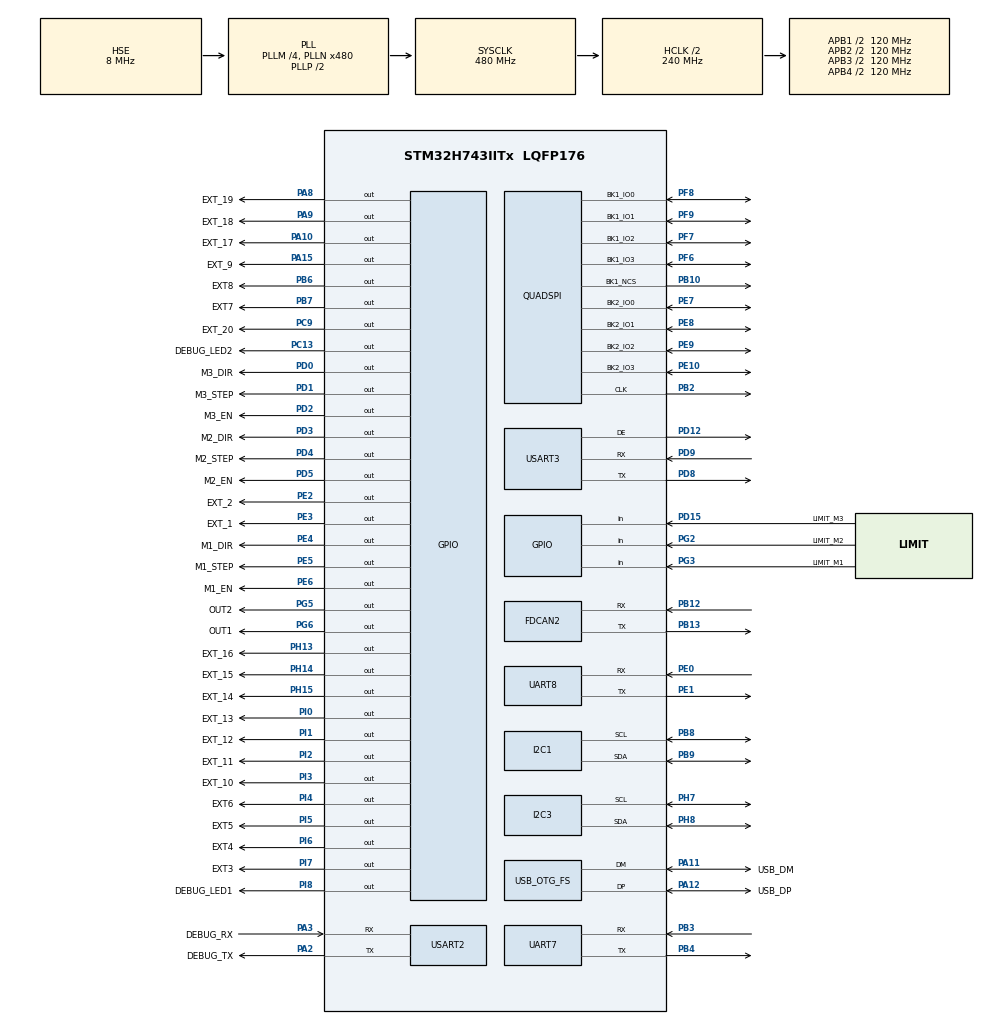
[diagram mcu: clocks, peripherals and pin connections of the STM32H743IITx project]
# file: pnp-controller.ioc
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PA11.GPIO_Speed=GPIO_SPEED_FREQ_VERY_HIGH
PB10.Mode=Enable Chip Select 1 for both banks
PH15.GPIO_Label=EXT_14
PG6.GPIO_Label=OUT1
VP_RTC_VS_RTC_Activate.Mode=RTC_Enabled
PB6.GPIO_Label=EXT8
PI6.GPIO_Label=EXT4
PA15\ (JTDI).Signal=GPIO_Output
PA3.GPIO_Speed=GPIO_SPEED_FREQ_HIGH
PB13.Signal=FDCAN2_TX
PE6.GPIO_Label=M1_EN
RCC.SYSCLKSource=RCC_SYSCLKSOURCE_PLLCLK
USART3.VirtualMode-Asynchronous=VM_ASYNC
FREERTOS.configENABLE_FPU=1
PA14\ (JTCK/SWCLK).Signal=DEBUG_JTCK-SWCLK
PF7.Signal=QUADSPI_BK1_IO2
PD4.Signal=GPIO_Output
PB6.Signal=GPIO_Output
PD0.Signal=GPIO_Output
PD8.Signal=USART3_TX
PE5.Signal=GPIO_Output
PE1.Signal=UART8_TX
PB2.Signal=QUADSPI_CLK
RCC.DIVM3=8
RCC.DIVM2=8
PI4.GPIO_Label=EXT6
RCC.RTCClockSelection=RCC_RTCCLKSOURCE_LSE
RCC.DIVM1=4
PD1.GPIO_Label=M3_STEP
PE9.Signal=QUADSPI_BK2_IO2
PI6.Signal=GPIO_Output
PI3.Signal=GPIO_Output
NVIC.TIM2_IRQn=true\:0\:0\:false\:false\:true\:false\:false\:true
PE4.GPIO_Label=M1_DIR
PE2.Signal=GPIO_Output
PF8.Mode=Dual_Bank
PA8.Signal=GPIO_Output
PA14\ (JTCK/SWCLK).Mode=Serial_Wire
PE10.Signal=QUADSPI_BK2_IO3
RCC.CKPERSourceSelection=RCC_CLKPSOURCE_HSE
Mcu.Package=LQFP176
PB9.Signal=I2C1_SDA
VP_SYS_VS_tim2.Mode=TIM2
NVIC.TimeBase=TIM2_IRQn
PD12.Signal=USART3_DE
NVIC.TimeBaseIP=TIM2
PA10.Signal=GPIO_Output
PE9.Mode=Dual_Bank
PC14-OSC32_IN\ (OSC32_IN).Mode=LSE-External-Oscillator
RCC.APB4Freq_Value=120000000
RCC.FDCANCLockSelection=RCC_FDCANCLKSOURCE_PLL2
PB13.Mode=FDCAN_Activate
PH8.Mode=I2C
PH0-OSC_IN\ (PH0).Mode=HSE-External-Oscillator
PD15.Signal=GPIO_Input
RCC.SupplySource=PWR_LDO_SUPPLY
PH15.Signal=GPIO_Output
RCC.DIVQ3=5
RCC.DIVQ2=3
RCC.DIVQ1=4
FREERTOS.Tasks01=defaultTask,24,128,StartDefaultTask,Default,NULL,Dynamic,NULL,NULL;usbd,54,256,usb_device_task,Default,NULL,Static,usb_device_taskBuffer,usb_device_taskControlBlock
PH13.Signal=GPIO_Output
PG5.Signal=GPIO_Output
PC13.Signal=GPIO_Output
PA9.GPIO_Label=EXT_18
PD3.Signal=GPIO_Output
PE1.Mode=Asynchronous
PE10.Mode=Dual_Bank
PD1.Signal=GPIO_Output
PA11.GPIO_Label=USB_DM
PE8.Mode=Dual_Bank
RCC.Tim2Mul=2
PA3.Mode=Asynchronous
PI8.GPIO_Label=DEBUG_LED1
PA8.GPIO_Label=EXT_19
PA9.Signal=GPIO_Output
RCC.DIVN3=240
RCC.DIVN2=240
I2C1.Timing=0x307075B1
RCC.DIVN1=480
PD8.Mode=Asynchronous
PB10.Signal=QUADSPI_BK1_NCS
RCC.USBCLockSelection=RCC_USBCLKSOURCE_PLL3
PI7.Signal=GPIO_Output
RCC.RNGCLockSelection=RCC_RNGCLKSOURCE_PLL
PE8.Signal=QUADSPI_BK2_IO1
PI1.Signal=GPIO_Output
PI2.Signal=GPIO_Output
PB4\ (NJTRST).Mode=Asynchronous
PH14.GPIO_Label=EXT_15
PD12.Mode=Hardware Flow Control (RS485)
PE5.GPIO_Label=M1_STEP
PA11.Signal=USB_OTG_FS_DM
ProjectManager.HeapSize=0x200
PF6.Mode=Dual_Bank
PF9.Signal=QUADSPI_BK1_IO1
FREERTOS.Timers01=usbled_timer,usbled_timer_cb,osTimerPeriodic,Default,NULL,Static,usbled_timerControlBlock;debugled_timer,debugled_timer_cb,osTimerPeriodic,Default,NULL,Static,debugled_timerControlBlock
NVIC.PriorityGroup=NVIC_PRIORITYGROUP_4
PB3\ (JTDO/TRACESWO).Mode=Asynchronous
PB8.Mode=I2C
PE3.Signal=GPIO_Output
PG3.GPIO_Label=LIMIT_M1
PD2.Signal=GPIO_Output
PD2.GPIO_Label=M3_EN
PA13\ (JTMS/SWDIO).Signal=DEBUG_JTMS-SWDIO
PI1.GPIO_Label=EXT_12
Mcu.Family=STM32H7
RCC.CortexFreq_Value=480000000
PG6.Signal=GPIO_Output
PH14.Signal=GPIO_Output
RCC.HPRE=RCC_HCLK_DIV2
PH0-OSC_IN\ (PH0).Signal=RCC_OSC_IN
PG2.Signal=GPIO_Input
PC15-OSC32_OUT\ (OSC32_OUT).Mode=LSE-External-Oscillator
PA2.GPIO_Speed=GPIO_SPEED_FREQ_HIGH
PD0.GPIO_Label=M3_DIR
PA11.Mode=Device_Only
PI5.GPIO_Label=EXT5
PC13.GPIO_Label=DEBUG_LED2
PG5.GPIO_Label=OUT2
PD9.Mode=Asynchronous
ProjectManager.StackSize=0x400
VP_FREERTOS_VS_CMSIS_V2.Mode=CMSIS_V2
PA12.Signal=USB_OTG_FS_DP
RCC.HCLKFreq_Value=240000000
PH1-OSC_OUT\ (PH1).Mode=HSE-External-Oscillator
RCC.HSE_VALUE=8000000
USART2.VirtualMode-Asynchronous=VM_ASYNC
FREERTOS.configENABLE_BACKWARD_COMPATIBILITY=0
PI8.Signal=GPIO_Output
PF9.Mode=Dual_Bank
PI5.Signal=GPIO_Output
PI0.Signal=GPIO_Output
PA10.GPIO_Label=EXT_17
PB7.Signal=GPIO_Output
USB_OTG_FS.dma_enable=DISABLE
PE4.Signal=GPIO_Output
PH7.Mode=I2C
RCC.APB3Freq_Value=120000000
PB7.GPIO_Label=EXT7
PB12.Mode=FDCAN_Activate
RCC.D1PPRE=RCC_APB3_DIV2
PD5.GPIO_Label=M2_EN
NVIC.OTG_FS_IRQn=true\:5\:0\:false\:false\:true\:true\:true\:false
PA2.GPIO_Label=DEBUG_TX
USB_OTG_FS.VirtualMode=Device_Only
PF8.Signal=QUADSPI_BK1_IO0
PI0.GPIO_Label=EXT_13
PH7.Signal=I2C3_SCL
I2C3.Timing=0x307075B1
PD3.GPIO_Label=M2_DIR
PE7.Signal=QUADSPI_BK2_IO0
PI2.GPIO_Label=EXT_11
PE2.GPIO_Label=EXT_2
PA12.GPIO_Speed=GPIO_SPEED_FREQ_VERY_HIGH
PG2.GPIO_Label=LIMIT_M2
PA3.Signal=USART2_RX
RCC.PLLSourceVirtual=RCC_PLLSOURCE_HSE
CORTEX_M7.CPU_ICache=Enabled
PD15.GPIO_Label=LIMIT_M3
PA13\ (JTMS/SWDIO).Mode=Serial_Wire
PC9.GPIO_Label=EXT_20
PG3.Signal=GPIO_Input
RCC.D2PPRE2=RCC_APB2_DIV2
RCC.D2PPRE1=RCC_APB1_DIV2
PD9.Signal=USART3_RX
PD5.Signal=GPIO_Output
VP_RNG_VS_RNG.Mode=RNG_Activate
PA12.GPIO_Label=USB_DP
PH1-OSC_OUT\ (PH1).Signal=RCC_OSC_OUT
PH13.GPIO_Label=EXT_16
PF7.Mode=Dual_Bank
PF6.Signal=QUADSPI_BK1_IO3
PB3\ (JTDO/TRACESWO).Signal=UART7_RX
ProjectManager.TargetToolchain=STM32CubeIDE
PC15-OSC32_OUT\ (OSC32_OUT).Signal=RCC_OSC32_OUT
PH8.Signal=I2C3_SDA
PB9.Mode=I2C
RCC.USBFreq_Value=48000000
board=custom
RCC.APB2Freq_Value=120000000
PD4.GPIO_Label=M2_STEP
PI4.Signal=GPIO_Output
RCC.ADCFreq_Value=120000000
USART3.VirtualMode-Hardware\ Flow\ Control\ (RS485)=VM_ASYNC
PI7.GPIO_Label=EXT3
PE6.Signal=GPIO_Output
PA15\ (JTDI).GPIO_Label=EXT_9
Mcu.Name=STM32H743IITx
PE0.Signal=UART8_RX
PA2.Signal=USART2_TX
RCC.SYSCLKFreq_VALUE=480000000
PE7.Mode=Dual_Bank
PA12.Mode=Device_Only
PC14-OSC32_IN\ (OSC32_IN).Signal=RCC_OSC32_IN
PB2.Mode=Dual_Bank
RCC.QSPICLockSelection=RCC_QSPICLKSOURCE_PLL2
PI3.GPIO_Label=EXT_10
PA2.Mode=Asynchronous
PB8.Signal=I2C1_SCL
PE3.GPIO_Label=EXT_1
RCC.D3PPRE=RCC_APB4_DIV2
PC9.Signal=GPIO_Output
CORTEX_M7.CPU_DCache=Enabled
RCC.APB1Freq_Value=120000000
VP_CRC_VS_CRC.Mode=CRC_Activate
PB12.Signal=FDCAN2_RX
PE0.Mode=Asynchronous
PA3.GPIO_Label=DEBUG_RX
PB4\ (NJTRST).Signal=UART7_TX

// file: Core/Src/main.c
/* USER CODE BEGIN Header */
/**
 ******************************************************************************
 * @file           : main.c
 * @brief          : Main program body
 ******************************************************************************
 * @attention
 *
 * <h2><center>&copy; Copyright (c) 2020 STMicroelectronics.
 * All rights reserved.</center></h2>
 *
 * This software component is licensed by ST under BSD 3-Clause license,
 * the "License"; You may not use this file except in compliance with the
 * License. You may obtain a copy of the License at:
 *                        opensource.org/licenses/BSD-3-Clause
 *
 ******************************************************************************
 */
/* USER CODE END Header */
#include "main.h"
#include "cmsis_os.h"

/* USER CODE BEGIN Includes */

#include "timers.h"

#include "tusb.h"

#include "usb_descriptors.h"

#include "retarget.h"
/* USER CODE END Includes */

typedef StaticTask_t osStaticThreadDef_t;
typedef StaticTimer_t osStaticTimerDef_t;

/* USER CODE BEGIN PD */

#define USBLED_PORT GPIOI
#define USBLED_PIN GPIO_PIN_8

#define DEBUGLED_PORT GPIOC
#define DEBUGLED_PIN GPIO_PIN_13

/* Blink pattern
 * - 250 ms  : device not mounted
 * - 1000 ms : device mounted
 * - 2500 ms : device is suspended
 */
enum {
	BLINK_NOT_MOUNTED = 250, BLINK_MOUNTED = 1000, BLINK_SUSPENDED = 2500,

	BLINK_ALWAYS_ON = UINT32_MAX, BLINK_ALWAYS_OFF = 0
};

static bool web_serial_connected = false;

#ifdef DEBUG
#define URL  "http://localhost:9999"
#else
	#define URL  "https://pickand.place"
#endif
const tusb_desc_webusb_url_t desc_url = { .bLength = 3 + sizeof(URL) - 1,
		.bDescriptorType = 3, // WEBUSB URL type
		.bScheme = 255, .url = URL };
/* USER CODE END PD */

CRC_HandleTypeDef hcrc;

FDCAN_HandleTypeDef hfdcan2;

I2C_HandleTypeDef hi2c1;
I2C_HandleTypeDef hi2c3;

QSPI_HandleTypeDef hqspi;

RNG_HandleTypeDef hrng;

RTC_HandleTypeDef hrtc;

UART_HandleTypeDef huart7;
UART_HandleTypeDef huart8;
UART_HandleTypeDef huart2;
UART_HandleTypeDef huart3;

PCD_HandleTypeDef hpcd_USB_OTG_FS;

/* Definitions for defaultTask */
osThreadId_t defaultTaskHandle;
const osThreadAttr_t defaultTask_attributes = {
  .name = "defaultTask",
  .stack_size = 128 * 4,
  .priority = (osPriority_t) osPriorityNormal,
};
/* Definitions for usbd */
osThreadId_t usbdHandle;
uint32_t usb_device_taskBuffer[ 256 ];
osStaticThreadDef_t usb_device_taskControlBlock;
const osThreadAttr_t usbd_attributes = {
  .name = "usbd",
  .cb_mem = &usb_device_taskControlBlock,
  .cb_size = sizeof(usb_device_taskControlBlock),
  .stack_mem = &usb_device_taskBuffer[0],
  .stack_size = sizeof(usb_device_taskBuffer),
  .priority = (osPriority_t) osPriorityRealtime6,
};
/* Definitions for usbled_timer */
osTimerId_t usbled_timerHandle;
osStaticTimerDef_t usbled_timerControlBlock;
const osTimerAttr_t usbled_timer_attributes = {
  .name = "usbled_timer",
  .cb_mem = &usbled_timerControlBlock,
  .cb_size = sizeof(usbled_timerControlBlock),
};
/* Definitions for debugled_timer */
osTimerId_t debugled_timerHandle;
osStaticTimerDef_t debugled_timerControlBlock;
const osTimerAttr_t debugled_timer_attributes = {
  .name = "debugled_timer",
  .cb_mem = &debugled_timerControlBlock,
  .cb_size = sizeof(debugled_timerControlBlock),
};

void SystemClock_Config(void);
void PeriphCommonClock_Config(void);
static void MX_GPIO_Init(void);
static void MX_CRC_Init(void);
static void MX_QUADSPI_Init(void);
static void MX_RNG_Init(void);
static void MX_USART2_UART_Init(void);
static void MX_USART3_UART_Init(void);
static void MX_RTC_Init(void);
static void MX_FDCAN2_Init(void);
static void MX_I2C1_Init(void);
static void MX_I2C3_Init(void);
static void MX_UART8_Init(void);
static void MX_UART7_Init(void);
static void MX_USB_OTG_FS_PCD_Init(void);
void StartDefaultTask(void *argument);
void usb_device_task(void *argument);
void usbled_timer_cb(void *argument);
void debugled_timer_cb(void *argument);

int main(void)
{

  /* Enable I-Cache---------------------------------------------------------*/
  SCB_EnableICache();

  /* Enable D-Cache---------------------------------------------------------*/
  SCB_EnableDCache();

  /* MCU Configuration--------------------------------------------------------*/

  /* Reset of all peripherals, Initializes the Flash interface and the Systick. */
  HAL_Init();

  /* Configure the system clock */
  SystemClock_Config();

/* Configure the peripherals common clocks */
  PeriphCommonClock_Config();

  /* Initialize all configured peripherals */
  MX_GPIO_Init();
  MX_CRC_Init();
  MX_QUADSPI_Init();
  MX_RNG_Init();
  MX_USART2_UART_Init();
  MX_USART3_UART_Init();
  MX_RTC_Init();
  MX_FDCAN2_Init();
  MX_I2C1_Init();
  MX_I2C3_Init();
  MX_UART8_Init();
  MX_UART7_Init();
  MX_USB_OTG_FS_PCD_Init();
  /* USER CODE BEGIN 2 */
  RetargetInit(&huart2);
  HAL_GPIO_WritePin(DEBUGLED_PORT, DEBUGLED_PIN, 1);
  /* USER CODE END 2 */

  /* Init scheduler */
  osKernelInitialize();

  /* Create the timer(s) */
  /* creation of usbled_timer */
  usbled_timerHandle = osTimerNew(usbled_timer_cb, osTimerPeriodic, NULL, &usbled_timer_attributes);

  /* creation of debugled_timer */
  debugled_timerHandle = osTimerNew(debugled_timer_cb, osTimerPeriodic, NULL, &debugled_timer_attributes);

  /* Create the thread(s) */
  /* creation of defaultTask */
  defaultTaskHandle = osThreadNew(StartDefaultTask, NULL, &defaultTask_attributes);

  /* creation of usbd */
  usbdHandle = osThreadNew(usb_device_task, NULL, &usbd_attributes);

  /* Start scheduler */
  osKernelStart();

  /* We should never get here as control is now taken by the scheduler */
  /* Infinite loop */
	while (1) {

	}
}

void SystemClock_Config(void)
{
  RCC_OscInitTypeDef RCC_OscInitStruct = {0};
  RCC_ClkInitTypeDef RCC_ClkInitStruct = {0};

  /** Supply configuration update enable
  */
  HAL_PWREx_ConfigSupply(PWR_LDO_SUPPLY);
  /** Configure the main internal regulator output voltage
  */
  __HAL_PWR_VOLTAGESCALING_CONFIG(PWR_REGULATOR_VOLTAGE_SCALE0);

  while(!__HAL_PWR_GET_FLAG(PWR_FLAG_VOSRDY)) {}
  /** Configure LSE Drive Capability
  */
  HAL_PWR_EnableBkUpAccess();
  __HAL_RCC_LSEDRIVE_CONFIG(RCC_LSEDRIVE_LOW);
  /** Macro to configure the PLL clock source
  */
  __HAL_RCC_PLL_PLLSOURCE_CONFIG(RCC_PLLSOURCE_HSE);
  /** Initializes the RCC Oscillators according to the specified parameters
  * in the RCC_OscInitTypeDef structure.
  */
  RCC_OscInitStruct.OscillatorType = RCC_OSCILLATORTYPE_HSE|RCC_OSCILLATORTYPE_LSE;
  RCC_OscInitStruct.HSEState = RCC_HSE_ON;
  RCC_OscInitStruct.LSEState = RCC_LSE_ON;
  RCC_OscInitStruct.PLL.PLLState = RCC_PLL_ON;
  RCC_OscInitStruct.PLL.PLLSource = RCC_PLLSOURCE_HSE;
  RCC_OscInitStruct.PLL.PLLM = 4;
  RCC_OscInitStruct.PLL.PLLN = 480;
  RCC_OscInitStruct.PLL.PLLP = 2;
  RCC_OscInitStruct.PLL.PLLQ = 4;
  RCC_OscInitStruct.PLL.PLLR = 2;
  RCC_OscInitStruct.PLL.PLLRGE = RCC_PLL1VCIRANGE_1;
  RCC_OscInitStruct.PLL.PLLVCOSEL = RCC_PLL1VCOWIDE;
  RCC_OscInitStruct.PLL.PLLFRACN = 0;
  if (HAL_RCC_OscConfig(&RCC_OscInitStruct) != HAL_OK)
  {
    Error_Handler();
  }
  /** Initializes the CPU, AHB and APB buses clocks
  */
  RCC_ClkInitStruct.ClockType = RCC_CLOCKTYPE_HCLK|RCC_CLOCKTYPE_SYSCLK
                              |RCC_CLOCKTYPE_PCLK1|RCC_CLOCKTYPE_PCLK2
                              |RCC_CLOCKTYPE_D3PCLK1|RCC_CLOCKTYPE_D1PCLK1;
  RCC_ClkInitStruct.SYSCLKSource = RCC_SYSCLKSOURCE_PLLCLK;
  RCC_ClkInitStruct.SYSCLKDivider = RCC_SYSCLK_DIV1;
  RCC_ClkInitStruct.AHBCLKDivider = RCC_HCLK_DIV2;
  RCC_ClkInitStruct.APB3CLKDivider = RCC_APB3_DIV2;
  RCC_ClkInitStruct.APB1CLKDivider = RCC_APB1_DIV2;
  RCC_ClkInitStruct.APB2CLKDivider = RCC_APB2_DIV2;
  RCC_ClkInitStruct.APB4CLKDivider = RCC_APB4_DIV2;

  if (HAL_RCC_ClockConfig(&RCC_ClkInitStruct, FLASH_LATENCY_4) != HAL_OK)
  {
    Error_Handler();
  }
}

void PeriphCommonClock_Config(void)
{
  RCC_PeriphCLKInitTypeDef PeriphClkInitStruct = {0};

  /** Initializes the peripherals clock
  */
  PeriphClkInitStruct.PeriphClockSelection = RCC_PERIPHCLK_QSPI|RCC_PERIPHCLK_FDCAN;
  PeriphClkInitStruct.PLL2.PLL2M = 8;
  PeriphClkInitStruct.PLL2.PLL2N = 240;
  PeriphClkInitStruct.PLL2.PLL2P = 2;
  PeriphClkInitStruct.PLL2.PLL2Q = 3;
  PeriphClkInitStruct.PLL2.PLL2R = 2;
  PeriphClkInitStruct.PLL2.PLL2RGE = RCC_PLL2VCIRANGE_0;
  PeriphClkInitStruct.PLL2.PLL2VCOSEL = RCC_PLL2VCOWIDE;
  PeriphClkInitStruct.PLL2.PLL2FRACN = 0;
  PeriphClkInitStruct.QspiClockSelection = RCC_QSPICLKSOURCE_PLL2;
  PeriphClkInitStruct.FdcanClockSelection = RCC_FDCANCLKSOURCE_PLL2;
  if (HAL_RCCEx_PeriphCLKConfig(&PeriphClkInitStruct) != HAL_OK)
  {
    Error_Handler();
  }
}

static void MX_CRC_Init(void)
{

  hcrc.Instance = CRC;
  hcrc.Init.DefaultPolynomialUse = DEFAULT_POLYNOMIAL_ENABLE;
  hcrc.Init.DefaultInitValueUse = DEFAULT_INIT_VALUE_ENABLE;
  hcrc.Init.InputDataInversionMode = CRC_INPUTDATA_INVERSION_NONE;
  hcrc.Init.OutputDataInversionMode = CRC_OUTPUTDATA_INVERSION_DISABLE;
  hcrc.InputDataFormat = CRC_INPUTDATA_FORMAT_BYTES;
  if (HAL_CRC_Init(&hcrc) != HAL_OK)
  {
    Error_Handler();
  }

}

static void MX_FDCAN2_Init(void)
{

  hfdcan2.Instance = FDCAN2;
  hfdcan2.Init.FrameFormat = FDCAN_FRAME_CLASSIC;
  hfdcan2.Init.Mode = FDCAN_MODE_NORMAL;
  hfdcan2.Init.AutoRetransmission = DISABLE;
  hfdcan2.Init.TransmitPause = DISABLE;
  hfdcan2.Init.ProtocolException = DISABLE;
  hfdcan2.Init.NominalPrescaler = 1;
  hfdcan2.Init.NominalSyncJumpWidth = 1;
  hfdcan2.Init.NominalTimeSeg1 = 2;
  hfdcan2.Init.NominalTimeSeg2 = 2;
  hfdcan2.Init.DataPrescaler = 1;
  hfdcan2.Init.DataSyncJumpWidth = 1;
  hfdcan2.Init.DataTimeSeg1 = 1;
  hfdcan2.Init.DataTimeSeg2 = 1;
  hfdcan2.Init.MessageRAMOffset = 0;
  hfdcan2.Init.StdFiltersNbr = 0;
  hfdcan2.Init.ExtFiltersNbr = 0;
  hfdcan2.Init.RxFifo0ElmtsNbr = 0;
  hfdcan2.Init.RxFifo0ElmtSize = FDCAN_DATA_BYTES_8;
  hfdcan2.Init.RxFifo1ElmtsNbr = 0;
  hfdcan2.Init.RxFifo1ElmtSize = FDCAN_DATA_BYTES_8;
  hfdcan2.Init.RxBuffersNbr = 0;
  hfdcan2.Init.RxBufferSize = FDCAN_DATA_BYTES_8;
  hfdcan2.Init.TxEventsNbr = 0;
  hfdcan2.Init.TxBuffersNbr = 0;
  hfdcan2.Init.TxFifoQueueElmtsNbr = 0;
  hfdcan2.Init.TxFifoQueueMode = FDCAN_TX_FIFO_OPERATION;
  hfdcan2.Init.TxElmtSize = FDCAN_DATA_BYTES_8;
  if (HAL_FDCAN_Init(&hfdcan2) != HAL_OK)
  {
    Error_Handler();
  }

}

static void MX_I2C1_Init(void)
{

  hi2c1.Instance = I2C1;
  hi2c1.Init.Timing = 0x307075B1;
  hi2c1.Init.OwnAddress1 = 0;
  hi2c1.Init.AddressingMode = I2C_ADDRESSINGMODE_7BIT;
  hi2c1.Init.DualAddressMode = I2C_DUALADDRESS_DISABLE;
  hi2c1.Init.OwnAddress2 = 0;
  hi2c1.Init.OwnAddress2Masks = I2C_OA2_NOMASK;
  hi2c1.Init.GeneralCallMode = I2C_GENERALCALL_DISABLE;
  hi2c1.Init.NoStretchMode = I2C_NOSTRETCH_DISABLE;
  if (HAL_I2C_Init(&hi2c1) != HAL_OK)
  {
    Error_Handler();
  }
  /** Configure Analogue filter
  */
  if (HAL_I2CEx_ConfigAnalogFilter(&hi2c1, I2C_ANALOGFILTER_ENABLE) != HAL_OK)
  {
    Error_Handler();
  }
  /** Configure Digital filter
  */
  if (HAL_I2CEx_ConfigDigitalFilter(&hi2c1, 0) != HAL_OK)
  {
    Error_Handler();
  }

}

static void MX_I2C3_Init(void)
{

  hi2c3.Instance = I2C3;
  hi2c3.Init.Timing = 0x307075B1;
  hi2c3.Init.OwnAddress1 = 0;
  hi2c3.Init.AddressingMode = I2C_ADDRESSINGMODE_7BIT;
  hi2c3.Init.DualAddressMode = I2C_DUALADDRESS_DISABLE;
  hi2c3.Init.OwnAddress2 = 0;
  hi2c3.Init.OwnAddress2Masks = I2C_OA2_NOMASK;
  hi2c3.Init.GeneralCallMode = I2C_GENERALCALL_DISABLE;
  hi2c3.Init.NoStretchMode = I2C_NOSTRETCH_DISABLE;
  if (HAL_I2C_Init(&hi2c3) != HAL_OK)
  {
    Error_Handler();
  }
  /** Configure Analogue filter
  */
  if (HAL_I2CEx_ConfigAnalogFilter(&hi2c3, I2C_ANALOGFILTER_ENABLE) != HAL_OK)
  {
    Error_Handler();
  }
  /** Configure Digital filter
  */
  if (HAL_I2CEx_ConfigDigitalFilter(&hi2c3, 0) != HAL_OK)
  {
    Error_Handler();
  }

}

static void MX_QUADSPI_Init(void)
{

  /* QUADSPI parameter configuration*/
  hqspi.Instance = QUADSPI;
  hqspi.Init.ClockPrescaler = 255;
  hqspi.Init.FifoThreshold = 1;
  hqspi.Init.SampleShifting = QSPI_SAMPLE_SHIFTING_NONE;
  hqspi.Init.FlashSize = 1;
  hqspi.Init.ChipSelectHighTime = QSPI_CS_HIGH_TIME_1_CYCLE;
  hqspi.Init.ClockMode = QSPI_CLOCK_MODE_0;
  hqspi.Init.DualFlash = QSPI_DUALFLASH_ENABLE;
  if (HAL_QSPI_Init(&hqspi) != HAL_OK)
  {
    Error_Handler();
  }

}

static void MX_RNG_Init(void)
{

  hrng.Instance = RNG;
  hrng.Init.ClockErrorDetection = RNG_CED_ENABLE;
  if (HAL_RNG_Init(&hrng) != HAL_OK)
  {
    Error_Handler();
  }

}

static void MX_RTC_Init(void)
{

  /** Initialize RTC Only
  */
  hrtc.Instance = RTC;
  hrtc.Init.HourFormat = RTC_HOURFORMAT_24;
  hrtc.Init.AsynchPrediv = 127;
  hrtc.Init.SynchPrediv = 255;
  hrtc.Init.OutPut = RTC_OUTPUT_DISABLE;
  hrtc.Init.OutPutPolarity = RTC_OUTPUT_POLARITY_HIGH;
  hrtc.Init.OutPutType = RTC_OUTPUT_TYPE_OPENDRAIN;
  hrtc.Init.OutPutRemap = RTC_OUTPUT_REMAP_NONE;
  if (HAL_RTC_Init(&hrtc) != HAL_OK)
  {
    Error_Handler();
  }

}

static void MX_UART7_Init(void)
{

  huart7.Instance = UART7;
  huart7.Init.BaudRate = 115200;
  huart7.Init.WordLength = UART_WORDLENGTH_8B;
  huart7.Init.StopBits = UART_STOPBITS_1;
  huart7.Init.Parity = UART_PARITY_NONE;
  huart7.Init.Mode = UART_MODE_TX_RX;
  huart7.Init.HwFlowCtl = UART_HWCONTROL_NONE;
  huart7.Init.OverSampling = UART_OVERSAMPLING_16;
  huart7.Init.OneBitSampling = UART_ONE_BIT_SAMPLE_DISABLE;
  huart7.Init.ClockPrescaler = UART_PRESCALER_DIV1;
  huart7.AdvancedInit.AdvFeatureInit = UART_ADVFEATURE_NO_INIT;
  if (HAL_UART_Init(&huart7) != HAL_OK)
  {
    Error_Handler();
  }
  if (HAL_UARTEx_SetTxFifoThreshold(&huart7, UART_TXFIFO_THRESHOLD_1_8) != HAL_OK)
  {
    Error_Handler();
  }
  if (HAL_UARTEx_SetRxFifoThreshold(&huart7, UART_RXFIFO_THRESHOLD_1_8) != HAL_OK)
  {
    Error_Handler();
  }
  if (HAL_UARTEx_DisableFifoMode(&huart7) != HAL_OK)
  {
    Error_Handler();
  }

}

static void MX_UART8_Init(void)
{

  huart8.Instance = UART8;
  huart8.Init.BaudRate = 115200;
  huart8.Init.WordLength = UART_WORDLENGTH_8B;
  huart8.Init.StopBits = UART_STOPBITS_1;
  huart8.Init.Parity = UART_PARITY_NONE;
  huart8.Init.Mode = UART_MODE_TX_RX;
  huart8.Init.HwFlowCtl = UART_HWCONTROL_NONE;
  huart8.Init.OverSampling = UART_OVERSAMPLING_16;
  huart8.Init.OneBitSampling = UART_ONE_BIT_SAMPLE_DISABLE;
  huart8.Init.ClockPrescaler = UART_PRESCALER_DIV1;
  huart8.AdvancedInit.AdvFeatureInit = UART_ADVFEATURE_NO_INIT;
  if (HAL_UART_Init(&huart8) != HAL_OK)
  {
    Error_Handler();
  }
  if (HAL_UARTEx_SetTxFifoThreshold(&huart8, UART_TXFIFO_THRESHOLD_1_8) != HAL_OK)
  {
    Error_Handler();
  }
  if (HAL_UARTEx_SetRxFifoThreshold(&huart8, UART_RXFIFO_THRESHOLD_1_8) != HAL_OK)
  {
    Error_Handler();
  }
  if (HAL_UARTEx_DisableFifoMode(&huart8) != HAL_OK)
  {
    Error_Handler();
  }

}

static void MX_USART2_UART_Init(void)
{

  huart2.Instance = USART2;
  huart2.Init.BaudRate = 115200;
  huart2.Init.WordLength = UART_WORDLENGTH_8B;
  huart2.Init.StopBits = UART_STOPBITS_1;
  huart2.Init.Parity = UART_PARITY_NONE;
  huart2.Init.Mode = UART_MODE_TX_RX;
  huart2.Init.HwFlowCtl = UART_HWCONTROL_NONE;
  huart2.Init.OverSampling = UART_OVERSAMPLING_16;
  huart2.Init.OneBitSampling = UART_ONE_BIT_SAMPLE_DISABLE;
  huart2.Init.ClockPrescaler = UART_PRESCALER_DIV1;
  huart2.AdvancedInit.AdvFeatureInit = UART_ADVFEATURE_NO_INIT;
  if (HAL_UART_Init(&huart2) != HAL_OK)
  {
    Error_Handler();
  }
  if (HAL_UARTEx_SetTxFifoThreshold(&huart2, UART_TXFIFO_THRESHOLD_1_8) != HAL_OK)
  {
    Error_Handler();
  }
  if (HAL_UARTEx_SetRxFifoThreshold(&huart2, UART_RXFIFO_THRESHOLD_1_8) != HAL_OK)
  {
    Error_Handler();
  }
  if (HAL_UARTEx_DisableFifoMode(&huart2) != HAL_OK)
  {
    Error_Handler();
  }

}

static void MX_USART3_UART_Init(void)
{

  huart3.Instance = USART3;
  huart3.Init.BaudRate = 115200;
  huart3.Init.WordLength = UART_WORDLENGTH_8B;
  huart3.Init.StopBits = UART_STOPBITS_1;
  huart3.Init.Parity = UART_PARITY_NONE;
  huart3.Init.Mode = UART_MODE_TX_RX;
  huart3.Init.HwFlowCtl = UART_HWCONTROL_NONE;
  huart3.Init.OverSampling = UART_OVERSAMPLING_16;
  huart3.Init.OneBitSampling = UART_ONE_BIT_SAMPLE_DISABLE;
  huart3.Init.ClockPrescaler = UART_PRESCALER_DIV1;
  huart3.AdvancedInit.AdvFeatureInit = UART_ADVFEATURE_NO_INIT;
  if (HAL_RS485Ex_Init(&huart3, UART_DE_POLARITY_HIGH, 0, 0) != HAL_OK)
  {
    Error_Handler();
  }
  if (HAL_UARTEx_SetTxFifoThreshold(&huart3, UART_TXFIFO_THRESHOLD_1_8) != HAL_OK)
  {
    Error_Handler();
  }
  if (HAL_UARTEx_SetRxFifoThreshold(&huart3, UART_RXFIFO_THRESHOLD_1_8) != HAL_OK)
  {
    Error_Handler();
  }
  if (HAL_UARTEx_DisableFifoMode(&huart3) != HAL_OK)
  {
    Error_Handler();
  }

}

static void MX_USB_OTG_FS_PCD_Init(void)
{

  hpcd_USB_OTG_FS.Instance = USB_OTG_FS;
  hpcd_USB_OTG_FS.Init.dev_endpoints = 9;
  hpcd_USB_OTG_FS.Init.speed = PCD_SPEED_FULL;
  hpcd_USB_OTG_FS.Init.dma_enable = DISABLE;
  hpcd_USB_OTG_FS.Init.phy_itface = PCD_PHY_EMBEDDED;
  hpcd_USB_OTG_FS.Init.Sof_enable = DISABLE;
  hpcd_USB_OTG_FS.Init.low_power_enable = DISABLE;
  hpcd_USB_OTG_FS.Init.lpm_enable = DISABLE;
  hpcd_USB_OTG_FS.Init.battery_charging_enable = DISABLE;
  hpcd_USB_OTG_FS.Init.vbus_sensing_enable = DISABLE;
  hpcd_USB_OTG_FS.Init.use_dedicated_ep1 = DISABLE;
  if (HAL_PCD_Init(&hpcd_USB_OTG_FS) != HAL_OK)
  {
    Error_Handler();
  }

}

static void MX_GPIO_Init(void)
{
  GPIO_InitTypeDef GPIO_InitStruct = {0};

  /* GPIO Ports Clock Enable */
  __HAL_RCC_GPIOE_CLK_ENABLE();
  __HAL_RCC_GPIOI_CLK_ENABLE();
  __HAL_RCC_GPIOC_CLK_ENABLE();
  __HAL_RCC_GPIOF_CLK_ENABLE();
  __HAL_RCC_GPIOH_CLK_ENABLE();
  __HAL_RCC_GPIOA_CLK_ENABLE();
  __HAL_RCC_GPIOB_CLK_ENABLE();
  __HAL_RCC_GPIOD_CLK_ENABLE();
  __HAL_RCC_GPIOG_CLK_ENABLE();

  /*Configure GPIO pin Output Level */
  HAL_GPIO_WritePin(GPIOE, EXT_2_Pin|EXT_1_Pin|M1_DIR_Pin|M1_STEP_Pin
                          |M1_EN_Pin, GPIO_PIN_RESET);

  /*Configure GPIO pin Output Level */
  HAL_GPIO_WritePin(GPIOI, DEBUG_LED1_Pin|EXT_13_Pin|EXT_12_Pin|EXT_11_Pin
                          |EXT_10_Pin|EXT6_Pin|EXT5_Pin|EXT4_Pin
                          |EXT3_Pin, GPIO_PIN_RESET);

  /*Configure GPIO pin Output Level */
  HAL_GPIO_WritePin(GPIOC, DEBUG_LED2_Pin|EXT_20_Pin, GPIO_PIN_RESET);

  /*Configure GPIO pin Output Level */
  HAL_GPIO_WritePin(GPIOG, OUT2_Pin|OUT1_Pin, GPIO_PIN_RESET);

  /*Configure GPIO pin Output Level */
  HAL_GPIO_WritePin(GPIOA, EXT_19_Pin|EXT_18_Pin|EXT_17_Pin|EXT_9_Pin, GPIO_PIN_RESET);

  /*Configure GPIO pin Output Level */
  HAL_GPIO_WritePin(GPIOH, EXT_16_Pin|EXT_15_Pin|EXT_14_Pin, GPIO_PIN_RESET);

  /*Configure GPIO pin Output Level */
  HAL_GPIO_WritePin(GPIOD, M3_DIR_Pin|M3_STEP_Pin|M3_EN_Pin|M2_DIR_Pin
                          |M2_STEP_Pin|M2_EN_Pin, GPIO_PIN_RESET);

  /*Configure GPIO pin Output Level */
  HAL_GPIO_WritePin(GPIOB, EXT8_Pin|EXT7_Pin, GPIO_PIN_RESET);

  /*Configure GPIO pins : EXT_2_Pin EXT_1_Pin M1_DIR_Pin M1_STEP_Pin
                           M1_EN_Pin */
  GPIO_InitStruct.Pin = EXT_2_Pin|EXT_1_Pin|M1_DIR_Pin|M1_STEP_Pin
                          |M1_EN_Pin;
  GPIO_InitStruct.Mode = GPIO_MODE_OUTPUT_PP;
  GPIO_InitStruct.Pull = GPIO_NOPULL;
  GPIO_InitStruct.Speed = GPIO_SPEED_FREQ_LOW;
  HAL_GPIO_Init(GPIOE, &GPIO_InitStruct);

  /*Configure GPIO pins : DEBUG_LED1_Pin EXT_13_Pin EXT_12_Pin EXT_11_Pin
                           EXT_10_Pin EXT6_Pin EXT5_Pin EXT4_Pin
                           EXT3_Pin */
  GPIO_InitStruct.Pin = DEBUG_LED1_Pin|EXT_13_Pin|EXT_12_Pin|EXT_11_Pin
                          |EXT_10_Pin|EXT6_Pin|EXT5_Pin|EXT4_Pin
                          |EXT3_Pin;
  GPIO_InitStruct.Mode = GPIO_MODE_OUTPUT_PP;
  GPIO_InitStruct.Pull = GPIO_NOPULL;
  GPIO_InitStruct.Speed = GPIO_SPEED_FREQ_LOW;
  HAL_GPIO_Init(GPIOI, &GPIO_InitStruct);

  /*Configure GPIO pins : DEBUG_LED2_Pin EXT_20_Pin */
  GPIO_InitStruct.Pin = DEBUG_LED2_Pin|EXT_20_Pin;
  GPIO_InitStruct.Mode = GPIO_MODE_OUTPUT_PP;
  GPIO_InitStruct.Pull = GPIO_NOPULL;
  GPIO_InitStruct.Speed = GPIO_SPEED_FREQ_LOW;
  HAL_GPIO_Init(GPIOC, &GPIO_InitStruct);

  /*Configure GPIO pin : LIMIT_M3_Pin */
  GPIO_InitStruct.Pin = LIMIT_M3_Pin;
  GPIO_InitStruct.Mode = GPIO_MODE_INPUT;
  GPIO_InitStruct.Pull = GPIO_NOPULL;
  HAL_GPIO_Init(LIMIT_M3_GPIO_Port, &GPIO_InitStruct);

  /*Configure GPIO pins : LIMIT_M2_Pin LIMIT_M1_Pin */
  GPIO_InitStruct.Pin = LIMIT_M2_Pin|LIMIT_M1_Pin;
  GPIO_InitStruct.Mode = GPIO_MODE_INPUT;
  GPIO_InitStruct.Pull = GPIO_NOPULL;
  HAL_GPIO_Init(GPIOG, &GPIO_InitStruct);

  /*Configure GPIO pins : OUT2_Pin OUT1_Pin */
  GPIO_InitStruct.Pin = OUT2_Pin|OUT1_Pin;
  GPIO_InitStruct.Mode = GPIO_MODE_OUTPUT_PP;
  GPIO_InitStruct.Pull = GPIO_NOPULL;
  GPIO_InitStruct.Speed = GPIO_SPEED_FREQ_LOW;
  HAL_GPIO_Init(GPIOG, &GPIO_InitStruct);

  /*Configure GPIO pins : EXT_19_Pin EXT_18_Pin EXT_17_Pin EXT_9_Pin */
  GPIO_InitStruct.Pin = EXT_19_Pin|EXT_18_Pin|EXT_17_Pin|EXT_9_Pin;
  GPIO_InitStruct.Mode = GPIO_MODE_OUTPUT_PP;
  GPIO_InitStruct.Pull = GPIO_NOPULL;
  GPIO_InitStruct.Speed = GPIO_SPEED_FREQ_LOW;
  HAL_GPIO_Init(GPIOA, &GPIO_InitStruct);

  /*Configure GPIO pins : EXT_16_Pin EXT_15_Pin EXT_14_Pin */
  GPIO_InitStruct.Pin = EXT_16_Pin|EXT_15_Pin|EXT_14_Pin;
  GPIO_InitStruct.Mode = GPIO_MODE_OUTPUT_PP;
  GPIO_InitStruct.Pull = GPIO_NOPULL;
  GPIO_InitStruct.Speed = GPIO_SPEED_FREQ_LOW;
  HAL_GPIO_Init(GPIOH, &GPIO_InitStruct);

  /*Configure GPIO pins : M3_DIR_Pin M3_STEP_Pin M3_EN_Pin M2_DIR_Pin
                           M2_STEP_Pin M2_EN_Pin */
  GPIO_InitStruct.Pin = M3_DIR_Pin|M3_STEP_Pin|M3_EN_Pin|M2_DIR_Pin
                          |M2_STEP_Pin|M2_EN_Pin;
  GPIO_InitStruct.Mode = GPIO_MODE_OUTPUT_PP;
  GPIO_InitStruct.Pull = GPIO_NOPULL;
  GPIO_InitStruct.Speed = GPIO_SPEED_FREQ_LOW;
  HAL_GPIO_Init(GPIOD, &GPIO_InitStruct);

  /*Configure GPIO pins : EXT8_Pin EXT7_Pin */
  GPIO_InitStruct.Pin = EXT8_Pin|EXT7_Pin;
  GPIO_InitStruct.Mode = GPIO_MODE_OUTPUT_PP;
  GPIO_InitStruct.Pull = GPIO_NOPULL;
  GPIO_InitStruct.Speed = GPIO_SPEED_FREQ_LOW;
  HAL_GPIO_Init(GPIOB, &GPIO_InitStruct);

}

/* USER CODE BEGIN 4 */

void board_led_write(bool state) {
	HAL_GPIO_WritePin(USBLED_PORT, USBLED_PIN, state);
}

// send characters to both CDC and WebUSB
void echo_all(uint8_t buf[], uint32_t count) {
	// echo to web serial
	if (web_serial_connected) {
		tud_vendor_write(buf, count);
	}
}

// Invoked when device is mounted
void tud_mount_cb(void) {
	xTimerChangePeriod(usbled_timerHandle, pdMS_TO_TICKS(BLINK_MOUNTED), 0);
}

// Invoked when device is unmounted
void tud_umount_cb(void) {
	xTimerChangePeriod(usbled_timerHandle, pdMS_TO_TICKS(BLINK_NOT_MOUNTED), 0);
}

// Invoked when usb bus is suspended
// remote_wakeup_en : if host allow us  to perform remote wakeup
// Within 7ms, device must draw an average of current less than 2.5 mA from bus
void tud_suspend_cb(bool remote_wakeup_en) {
	(void) remote_wakeup_en;
	xTimerChangePeriod(usbled_timerHandle, pdMS_TO_TICKS(BLINK_SUSPENDED), 0);
}

// Invoked when usb bus is resumed
void tud_resume_cb(void) {
	xTimerChangePeriod(usbled_timerHandle, pdMS_TO_TICKS(BLINK_MOUNTED), 0);
}

bool tud_vendor_control_request_cb(uint8_t rhport,
		tusb_control_request_t const *request) {
	switch (request->bRequest) {
	case VENDOR_REQUEST_WEBUSB:
		// match vendor request in BOS descriptor
		// Get landing page url
		return tud_control_xfer(rhport, request, (void*) &desc_url,
				desc_url.bLength);

	case VENDOR_REQUEST_MICROSOFT:
		if (request->wIndex == 7) {
			// Get Microsoft OS 2.0 compatible descriptor
			uint16_t total_len;
			memcpy(&total_len, desc_ms_os_20 + 8, 2);

			return tud_control_xfer(rhport, request, (void*) desc_ms_os_20,
					total_len);
		} else {
			return false;
		}
	case 0x22:
		// Webserial simulate the CDC_REQUEST_SET_CONTROL_LINE_STATE (0x22) to
		// connect and disconnect.
		web_serial_connected = (request->wValue != 0);

		// Always lit LED if connected
		if (web_serial_connected) {
			board_led_write(true);
			xTimerChangePeriod(usbled_timerHandle,
					pdMS_TO_TICKS(BLINK_ALWAYS_ON), 0);

			tud_vendor_write_str("\r\nTinyUSB WebUSB device example\r\n");
		} else {
			xTimerChangePeriod(usbled_timerHandle, pdMS_TO_TICKS(BLINK_MOUNTED),
					0);
		}

		// response with status OK
		return tud_control_status(rhport, request);

	default:
		// stall unknown request
		return false;
	}

	return true;
}

// Invoked when DATA Stage of VENDOR's request is complete
bool tud_vendor_control_complete_cb(uint8_t rhport,
		tusb_control_request_t const *request) {
	(void) rhport;
	(void) request;

	// nothing to do
	return true;
}

/* USER CODE END 4 */

void StartDefaultTask(void *argument)
{
  /* USER CODE BEGIN 5 */
	osTimerStart(debugled_timerHandle, pdMS_TO_TICKS(100));
	osTimerStart(usbled_timerHandle, pdMS_TO_TICKS(BLINK_NOT_MOUNTED));
	/* Infinite loop */
	for (;;) {
		osDelay(1000);
		printf("\r\nHello");
	}
  /* USER CODE END 5 */
}

void usb_device_task(void *argument)
{
  /* USER CODE BEGIN usb_device_task */
	tusb_init();
	/* Infinite loop */
	for (;;) {
		tud_task();
	}
  /* USER CODE END usb_device_task */
}

/* usbled_timer_cb function */
void usbled_timer_cb(void *argument)
{
  /* USER CODE BEGIN usbled_timer_cb */
	(void) argument;
	static bool led_state = false;

	board_led_write(led_state);
	led_state = 1 - led_state; // toggle
  /* USER CODE END usbled_timer_cb */
}

/* debugled_timer_cb function */
void debugled_timer_cb(void *argument)
{
  /* USER CODE BEGIN debugled_timer_cb */
	static bool debug_led_state = false;

	HAL_GPIO_WritePin(DEBUGLED_PORT, DEBUGLED_PIN, debug_led_state);
	debug_led_state = 1 - debug_led_state; // toggle

  /* USER CODE END debugled_timer_cb */
}

 /**
  * @brief  Period elapsed callback in non blocking mode
  * @note   This function is called  when TIM2 interrupt took place, inside
  * HAL_TIM_IRQHandler(). It makes a direct call to HAL_IncTick() to increment
  * a global variable "uwTick" used as application time base.
  * @param  htim : TIM handle
  * @retval None
  */
void HAL_TIM_PeriodElapsedCallback(TIM_HandleTypeDef *htim)
{
  if (htim->Instance == TIM2) {
    HAL_IncTick();
  }
}

void Error_Handler(void)
{
	__disable_irq();
	while (1) {
	}
}

/************************ (C) COPYRIGHT STMicroelectronics *****END OF FILE****/
